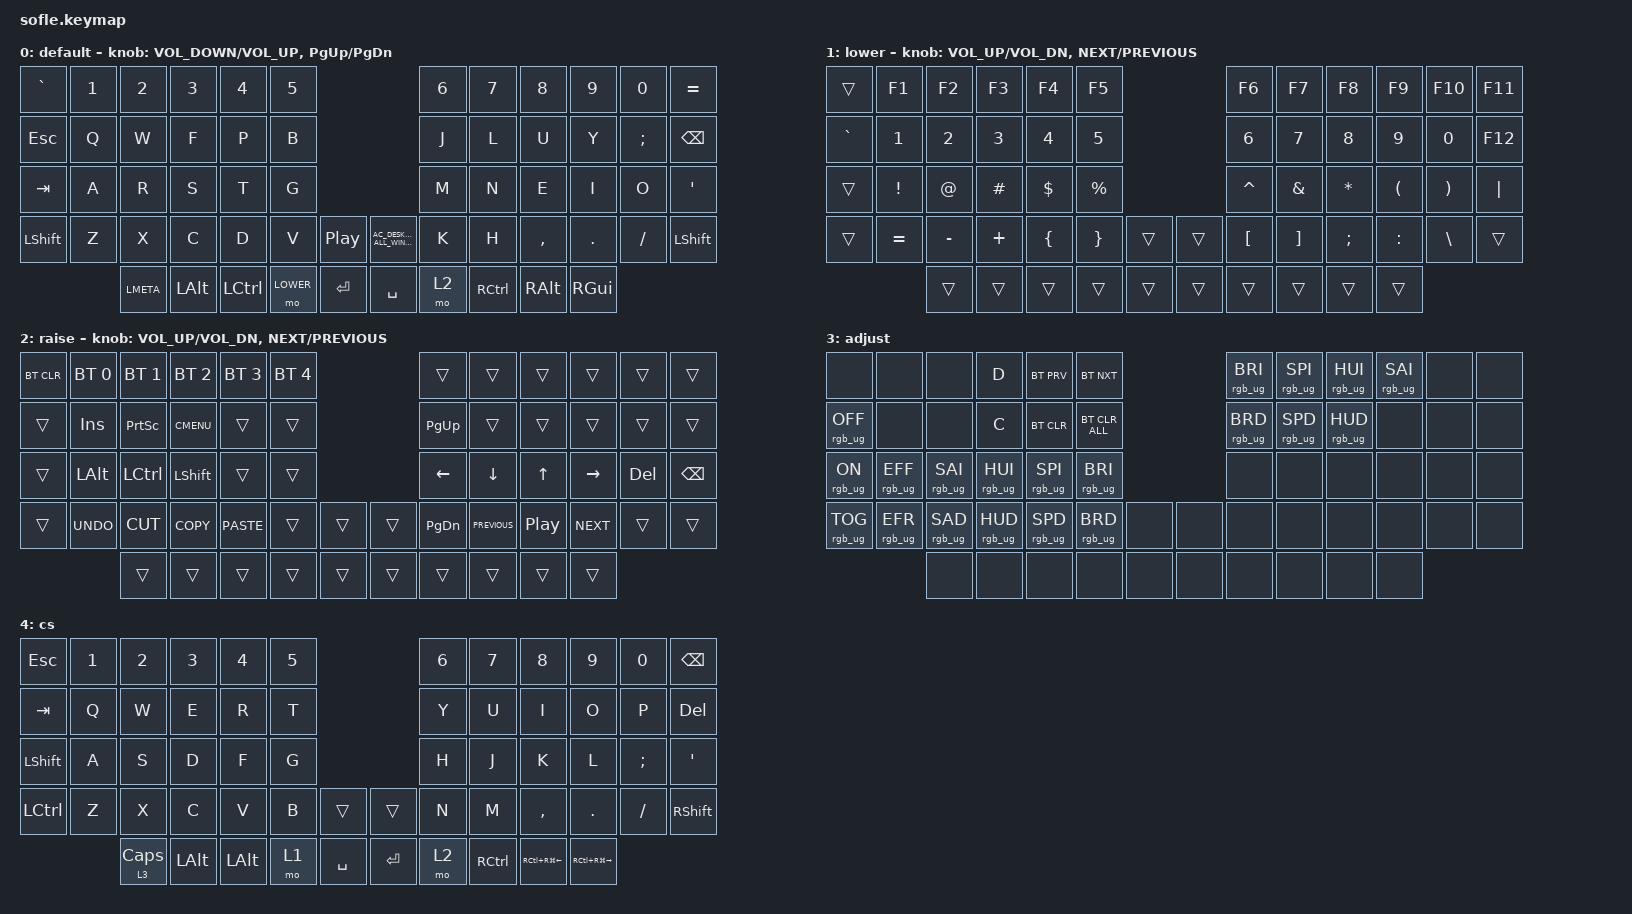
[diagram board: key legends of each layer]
/*
 * Copyright (c) 2020 The ZMK Contributors
 *
 * SPDX-License-Identifier: MIT
 */

#include <behaviors.dtsi>
#include <dt-bindings/zmk/bt.h>
#include <dt-bindings/zmk/keys.h>
#include <dt-bindings/zmk/rgb.h>

#define BASE 0
#define LOWER 1
#define RAISE 2
#define ADJUST 3

&led_strip {
    chain-length = <36>; // Sofle: 1 indicatore + 6 drop + 29 key lighting
};

/ {
    // Activate ADJUST layer by pressing raise and lower

    conditional_layers { compatible = "zmk,conditional-layers"; };

    combos {
        compatible = "zmk,combos";

        cs {
            bindings = <&to 4>;
            key-positions = <39 40 41>;
            layers = <0 1 2 3 4>;
        };

        home {
            bindings = <&to 0>;
            key-positions = <27 28 29>;
            layers = <0 1 2 3 4>;
        };
    };

    keymap {
        compatible = "zmk,keymap";

        default_layer {
            display-name = "default";

            // ------------------------------------------------------------------------------------------------------------
            // |   `   |  1  |  2  |  3   |  4   |  5   |                   |  6   |  7    |  8    |  9   |   0   |       |
            // |  ESC  |  Q  |  W  |  E   |  R   |  T   |                   |  Y   |  U    |  I    |  O   |   P   | BKSPC |
            // |  TAB  |  A  |  S  |  D   |  F   |  G   |                   |  H   |  J    |  K    |  L   |   ;   |   '   |
            // | SHIFT |  Z  |  X  |  C   |  V   |  B   |  MUTE  |  |       |  N   |  M    |  ,    |  .   |   /   | SHIFT |
            //               | GUI | ALT  | CTRL | LOWER|  ENTER |  | SPACE | RAISE| CTRL  | ALT   | GUI  |

            bindings = <
&kp GRAVE       &kp N1  &kp N2     &kp N3        &kp N4            &kp N5                                                            &kp N6  &kp N7     &kp N8         &kp N9         &kp N0    &kp EQUAL
&kp ESC         &kp Q   &kp W      &kp F         &kp P             &kp B                                                             &kp J   &kp L      &kp U          &kp Y          &kp SEMI  &kp BACKSPACE
&kp TAB         &kp A   &kp R      &kp S         &kp T             &kp G                                                             &kp M   &kp N      &kp E          &kp I          &kp O     &kp SQT
&kp LEFT_SHIFT  &kp Z   &kp X      &kp C         &kp D             &kp V      &kp C_PLAY_PAUSE    &kp C_AC_DESKTOP_SHOW_ALL_WINDOWS  &kp K   &kp H      &kp COMMA      &kp DOT        &kp FSLH  &kp LSHFT
                        &kp LMETA  &kp LEFT_ALT  &kp LEFT_CONTROL  &mo LOWER  &kp ENTER           &kp SPACE                          &mo 2   &kp RCTRL  &kp RIGHT_ALT  &kp RIGHT_GUI
            >;

            sensor-bindings =
                <&inc_dec_kp C_VOLUME_DOWN C_VOLUME_UP>,
                <&inc_dec_kp PG_UP PAGE_DOWN>;
        };

        lower_layer {
            display-name = "lower";

            // TODO: Some binds are waiting for shifted keycode support.
            // ------------------------------------------------------------------------------------------------------------
            // |       |  F1 |  F2 |  F3  |  F4  |  F5  |                   |  F6  |  F7   |  F8   |  F9  |  F10  |  F11  |
            // |   `   |  1  |  2  |  3   |  4   |  5   |                   |  6   |  7    |  8    |  9   |   0   |  F12  |
            // |       |  !  |  @  |  #   |  $   |  %   |                   |  ^   |  &    |  *    |  (   |   )   |   |   |
            // |       |  =  |  -  |  +   |  {   |  }   |        |  |       |  [   |  ]    |  ;    |  :   |   \   |       |
            //               |     |      |      |      |        |  |       |      |       |       |      |

            bindings = <
&trans     &kp F1     &kp F2     &kp F3    &kp F4    &kp F5                       &kp F6     &kp F7    &kp F8     &kp F9     &kp F10   &kp F11
&kp GRAVE  &kp N1     &kp N2     &kp N3    &kp N4    &kp N5                       &kp N6     &kp N7    &kp N8     &kp N9     &kp N0    &kp F12
&trans     &kp EXCL   &kp AT     &kp HASH  &kp DLLR  &kp PRCNT                    &kp CARET  &kp AMPS  &kp ASTRK  &kp LPAR   &kp RPAR  &kp PIPE
&trans     &kp EQUAL  &kp MINUS  &kp PLUS  &kp LBRC  &kp RBRC   &trans    &trans  &kp LBKT   &kp RBKT  &kp SEMI   &kp COLON  &kp BSLH  &trans
                      &trans     &trans    &trans    &trans     &trans    &trans  &trans     &trans    &trans     &trans
            >;

            sensor-bindings =
                <&inc_dec_kp C_VOL_UP C_VOL_DN>,
                <&inc_dec_kp C_NEXT C_PREVIOUS>;
        };

        raise_layer {
            display-name = "raise";

            // ------------------------------------------------------------------------------------------------------------
            // | BTCLR | BT1  | BT2  |  BT3  |  BT4  |  BT5 |                |      |      |       |      |       |       |
            // |       | INS  | PSCR | GUI   |       |      |                | PGUP |      |   ^   |      |       |       |
            // |       | ALT  | CTRL | SHIFT |       | CAPS |                | PGDN |   <- |   v   |  ->  |  DEL  | BKSPC |
            // |       | UNDO | CUT  | COPY  | PASTE |      |      |  |      |      |      |       |      |       |       |
            //                |      |       |       |      |      |  |      |      |      |       |      |

            bindings = <
&bt BT_CLR  &bt BT_SEL 0  &bt BT_SEL 1  &bt BT_SEL 2  &bt BT_SEL 3  &bt BT_SEL 4                    &trans         &trans          &trans            &trans      &trans   &trans
&trans      &kp INS       &kp PSCRN     &kp K_CMENU   &trans        &trans                          &kp PG_UP      &trans          &trans            &trans      &trans   &trans
&trans      &kp LALT      &kp LCTRL     &kp LSHFT     &trans        &trans                          &kp LEFT       &kp DOWN        &kp UP            &kp RIGHT   &kp DEL  &kp BSPC
&trans      &kp K_UNDO    &kp K_CUT     &kp K_COPY    &kp K_PASTE   &trans        &trans    &trans  &kp PAGE_DOWN  &kp C_PREVIOUS  &kp C_PLAY_PAUSE  &kp C_NEXT  &trans   &trans
                          &trans        &trans        &trans        &trans        &trans    &trans  &trans         &trans          &trans            &trans
            >;

            sensor-bindings =
                <&inc_dec_kp C_VOL_UP C_VOL_DN>,
                <&inc_dec_kp C_NEXT C_PREVIOUS>;
        };

        adjust_layer {
            // ----------------------------------------------------------------------------------------------------------------------------
            // | BTCLR  |  BT1    |  BT2    |   BT3   |   BT4   |   BT5   |                  |      |      |       |      |       |       |
            // | EXTPWR | RGB_HUD | RGB_HUI | RGB_SAD | RGB_SAI | RGB_EFF |                  |      |      |       |      |       |       |
            // |        | RGB_BRD | RGB_BRI |         |         |         |                  |      |      |       |      |       |       |
            // |        |         |         |         |         |         | RGB_TOG | |      |      |      |       |      |       |       |
            //                    |         |         |         |         |         | |      |      |      |       |      |

            display-name = "adjust";
            bindings = <
&none            &none            &none            &kp D            &bt BT_PRV       &bt BT_NXT                       &rgb_ug RGB_BRI  &rgb_ug RGB_SPI  &rgb_ug RGB_HUI  &rgb_ug RGB_SAI  &none  &none
&rgb_ug RGB_OFF  &none            &none            &kp C            &bt BT_CLR       &bt BT_CLR_ALL                   &rgb_ug RGB_BRD  &rgb_ug RGB_SPD  &rgb_ug RGB_HUD  &none            &none  &none
&rgb_ug RGB_ON   &rgb_ug RGB_EFF  &rgb_ug RGB_SAI  &rgb_ug RGB_HUI  &rgb_ug RGB_SPI  &rgb_ug RGB_BRI                  &none            &none            &none            &none            &none  &none
&rgb_ug RGB_TOG  &rgb_ug RGB_EFR  &rgb_ug RGB_SAD  &rgb_ug RGB_HUD  &rgb_ug RGB_SPD  &rgb_ug RGB_BRD  &none    &none  &none            &none            &none            &none            &none  &none
                                  &none            &none            &none            &none            &none    &none  &none            &none            &none            &none
            >;
        };

        cs {
            bindings = <
&kp ESC    &kp N1  &kp N2      &kp N3        &kp N4        &kp N5                          &kp N6  &kp N7     &kp N8            &kp N9             &kp N0    &kp BSPC
&kp TAB    &kp Q   &kp W       &kp E         &kp R         &kp T                           &kp Y   &kp U      &kp I             &kp O              &kp P     &kp DEL
&kp LSHFT  &kp A   &kp S       &kp D         &kp F         &kp G                           &kp H   &kp J      &kp K             &kp L              &kp SEMI  &kp SQT
&kp LCTRL  &kp Z   &kp X       &kp C         &kp V         &kp B   &trans       &trans     &kp N   &kp M      &kp COMMA         &kp DOT            &kp FSLH  &kp RSHFT
                   &lt 3 CAPS  &kp LEFT_ALT  &kp LEFT_ALT  &mo 1   &kp SPACE    &kp ENTER  &mo 2   &kp RCTRL  &kp RC(RG(LEFT))  &kp RC(RG(RIGHT))
            >;

            label = "cs";
        };
    };
};
